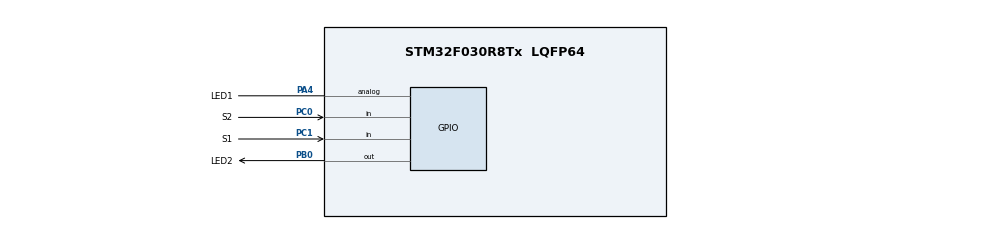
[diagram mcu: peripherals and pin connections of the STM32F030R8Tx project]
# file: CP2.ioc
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Mcu.Family=STM32F0
Mcu.Name=STM32F030R8Tx
Mcu.Package=LQFP64
PA4.GPIO_Label=LED1
PA4.Signal=GPIO_Analog
PB0.GPIO_Label=LED2
PB0.Signal=GPIO_Output
PC0.GPIO_Label=S2
PC0.GPIO_PuPd=GPIO_PULLUP
PC0.Signal=GPIO_Input
PC1.GPIO_Label=S1
PC1.GPIO_PuPd=GPIO_PULLUP
PC1.Signal=GPIO_Input
ProjectManager.HeapSize=0x200
ProjectManager.StackSize=0x400
ProjectManager.TargetToolchain=STM32CubeIDE
board=custom

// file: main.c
/* USER CODE BEGIN Header */
/**
 ******************************************************************************
 * @file           : main.c
 * @brief          : Main program body
 ******************************************************************************
 * @attention
 *
 * Copyright (c) 2024 STMicroelectronics.
 * All rights reserved.
 *
 * This software is licensed under terms that can be found in the LICENSE file
 * in the root directory of this software component.
 * If no LICENSE file comes with this software, it is provided AS-IS.
 *
 ******************************************************************************
 */
/* USER CODE END Header */
#include "main.h"

/* USER CODE BEGIN PD */
#define LED_TIME_SHORT 300
#define BUTTON_PERIOD 5

/* USER CODE END PD */

/* USER CODE BEGIN PV */

volatile uint32_t Tick;

/* USER CODE END PV */

void SystemClock_Config(void);
static void MX_GPIO_Init(void);

/* USER CODE BEGIN 0 */
static void button()
{

	static uint32_t off_time;

	static uint32_t old_s2;

	static uint32_t old_s1;

	static uint16_t debounce = 0xFFFF;

	uint32_t new_s2 = LL_GPIO_IsInputPinSet(S2_GPIO_Port, S2_Pin);
	if (old_s2 && !new_s2)
	{
		off_time = Tick + LED_TIME_SHORT;
		LL_GPIO_SetOutputPin(LED2_GPIO_Port, LED2_Pin);
	}
	old_s2 = new_s2;

	if(Tick > off_time)
	{
		LL_GPIO_ResetOutputPin(LED2_GPIO_Port, LED2_Pin);
	}

	////////////////////////////////////
	debounce = debounce << 1;
	if (LL_GPIO_IsInputPinSet(S1_GPIO_Port, S1_Pin) == 1)
	{

		debounce = debounce | 0x0001;
	}
	if (debounce == 0x8000)
	{
		LL_GPIO_SetOutputPin(LED2_GPIO_Port, LED2_Pin);
		off_time = Tick + LED_TIME_SHORT;
	}

////////////////////////

	/*uint32_t new_s1 = LL_GPIO_IsInputPinSet(S2_GPIO_Port, S1_Pin);
	if (old_s1 && !new_s1)
	{
		off_time = Tick + LED_TIME_SHORT;
		LL_GPIO_SetOutputPin(LED2_GPIO_Port, LED2_Pin);
	}
	old_s1 = new_s1;

	if(Tick > off_time)
	{
		LL_GPIO_ResetOutputPin(LED2_GPIO_Port, LED2_Pin);
	}

*/

}

/* USER CODE END 0 */

int main(void)
{

  /* MCU Configuration--------------------------------------------------------*/

  /* Reset of all peripherals, Initializes the Flash interface and the Systick. */
  LL_APB1_GRP2_EnableClock(LL_APB1_GRP2_PERIPH_SYSCFG);
  LL_APB1_GRP1_EnableClock(LL_APB1_GRP1_PERIPH_PWR);

  /* SysTick_IRQn interrupt configuration */
  NVIC_SetPriority(SysTick_IRQn, 3);

  /* Configure the system clock */
  SystemClock_Config();

  /* Initialize all configured peripherals */
  MX_GPIO_Init();
  /* USER CODE BEGIN 2 */
LL_SYSTICK_EnableIT();
  /* USER CODE END 2 */

  /* Infinite loop */
  /* USER CODE BEGIN WHILE */
while (1)
{
	//blink();

	static uint32_t last_button_tick;
	if (Tick > last_button_tick + BUTTON_PERIOD)
	{
		last_button_tick = Tick;
		button();
	}

	//button();

    /* USER CODE END WHILE */

}
}

void SystemClock_Config(void)
{
  LL_FLASH_SetLatency(LL_FLASH_LATENCY_0);
  while(LL_FLASH_GetLatency() != LL_FLASH_LATENCY_0)
  {
  }
  LL_RCC_HSI_Enable();

   /* Wait till HSI is ready */
  while(LL_RCC_HSI_IsReady() != 1)
  {

  }
  LL_RCC_HSI_SetCalibTrimming(16);
  LL_RCC_SetAHBPrescaler(LL_RCC_SYSCLK_DIV_1);
  LL_RCC_SetAPB1Prescaler(LL_RCC_APB1_DIV_1);
  LL_RCC_SetSysClkSource(LL_RCC_SYS_CLKSOURCE_HSI);

   /* Wait till System clock is ready */
  while(LL_RCC_GetSysClkSource() != LL_RCC_SYS_CLKSOURCE_STATUS_HSI)
  {

  }
  LL_Init1msTick(8000000);
  LL_SetSystemCoreClock(8000000);
}

static void MX_GPIO_Init(void)
{
  LL_GPIO_InitTypeDef GPIO_InitStruct = {0};

  /* GPIO Ports Clock Enable */
  LL_AHB1_GRP1_EnableClock(LL_AHB1_GRP1_PERIPH_GPIOC);
  LL_AHB1_GRP1_EnableClock(LL_AHB1_GRP1_PERIPH_GPIOA);
  LL_AHB1_GRP1_EnableClock(LL_AHB1_GRP1_PERIPH_GPIOB);

  /**/
  LL_GPIO_ResetOutputPin(LED2_GPIO_Port, LED2_Pin);

  /**/
  GPIO_InitStruct.Pin = S2_Pin;
  GPIO_InitStruct.Mode = LL_GPIO_MODE_INPUT;
  GPIO_InitStruct.Pull = LL_GPIO_PULL_UP;
  LL_GPIO_Init(S2_GPIO_Port, &GPIO_InitStruct);

  /**/
  GPIO_InitStruct.Pin = S1_Pin;
  GPIO_InitStruct.Mode = LL_GPIO_MODE_INPUT;
  GPIO_InitStruct.Pull = LL_GPIO_PULL_UP;
  LL_GPIO_Init(S1_GPIO_Port, &GPIO_InitStruct);

  /**/
  GPIO_InitStruct.Pin = LED1_Pin;
  GPIO_InitStruct.Mode = LL_GPIO_MODE_ANALOG;
  GPIO_InitStruct.Pull = LL_GPIO_PULL_NO;
  LL_GPIO_Init(LED1_GPIO_Port, &GPIO_InitStruct);

  /**/
  GPIO_InitStruct.Pin = LED2_Pin;
  GPIO_InitStruct.Mode = LL_GPIO_MODE_OUTPUT;
  GPIO_InitStruct.Speed = LL_GPIO_SPEED_FREQ_LOW;
  GPIO_InitStruct.OutputType = LL_GPIO_OUTPUT_PUSHPULL;
  GPIO_InitStruct.Pull = LL_GPIO_PULL_NO;
  LL_GPIO_Init(LED2_GPIO_Port, &GPIO_InitStruct);

}

void Error_Handler(void)
{
	__disable_irq();
	while (1)
	{
	}
}
